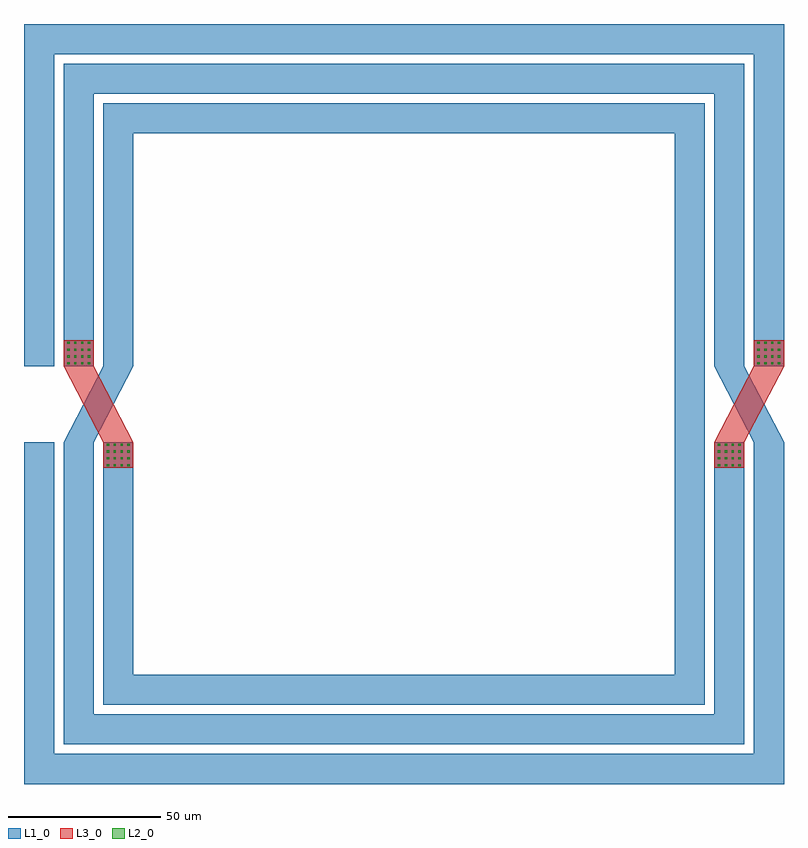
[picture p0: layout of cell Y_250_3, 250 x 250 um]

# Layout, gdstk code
import gdstk
lib = gdstk.Library(unit=1e-6, precision=1e-09)
def R(c, l, rs):  # rectangles x0, y0, x1, y1
    for r in rs: c.add(gdstk.rectangle(r[:2], r[2:], *l))
def A(c, l, x, y, w, h, nx, ny, dx, dy):  # array of equal rectangles
    R(c, l, [(x+i*dx, y+j*dy, x+i*dx+w, y+j*dy+h) for i in range(nx) for j in range(ny)])
def P(c, l, *ps):  # polygons
    for p in ps: c.add(gdstk.Polygon(p, *l))
L1_0 = (1, 0)
L2_0 = (2, 0)
L3_0 = (3, 0)

y_250_3 = lib.new_cell('Y_250_3')
R(y_250_3, L1_0, [(126,216.5,136,225), (327,216.5,337,225), (314,225,324,237.5), (314,237.5,324,250), (113,250,123,258.5), (340,250,350,258.5)])
P(y_250_3, L1_0, [(100,250),(100,362.5),(110,352.5),(110,250)],
  [(110,352.5),(100,362.5),(350,362.5),(340,352.5)],
  [(340,250),(340,352.5),(350,362.5),(350,250)],
  [(337,125.5),(327,135.5),(327,225),(337,225)],
  [(113,125.5),(123,135.5),(327,135.5),(337,125.5)],
  [(113,125.5),(113,225),(123,225),(123,135.5)],
  [(113,225),(126,250),(136,250),(123,225)],
  [(126,250),(126,336.5),(136,326.5),(136,250)],
  [(136,326.5),(126,336.5),(324,336.5),(314,326.5)],
  [(314,250),(314,326.5),(324,336.5),(324,250)],
  [(324,138.5),(314,148.5),(314,225),(324,225)],
  [(126,138.5),(136,148.5),(314,148.5),(324,138.5)],
  [(126,138.5),(126,225),(136,225),(136,148.5)],
  [(113,250),(113,349.5),(123,339.5),(123,250)],
  [(123,339.5),(113,349.5),(337,349.5),(327,339.5)],
  [(327,250),(327,339.5),(337,349.5),(337,250)],
  [(340,225),(327,250),(337,250),(350,225)],
  [(350,112.5),(340,122.5),(340,225),(350,225)],
  [(100,112.5),(110,122.5),(340,122.5),(350,112.5)],
  [(100,112.5),(100,225),(110,225),(110,122.5)])
A(y_250_3, L2_0, 127.25, 217, 0.75, 0.75, 4, 4, 2.25, 2.25)
A(y_250_3, L2_0, 328.25, 217, 0.75, 0.75, 4, 4, 2.25, 2.25)
A(y_250_3, L2_0, 114.25, 250.5, 0.75, 0.75, 4, 4, 2.25, 2.25)
A(y_250_3, L2_0, 341.25, 250.5, 0.75, 0.75, 4, 4, 2.25, 2.25)
R(y_250_3, L3_0, [(126,216.5,136,225), (327,216.5,337,225), (113,250,123,258.5), (340,250,350,258.5)])
P(y_250_3, L3_0, [(327,225),(340,250),(350,250),(337,225)],
  [(126,225),(113,250),(123,250),(136,225)])

lib.write_gds('Y_250_3.gds')
